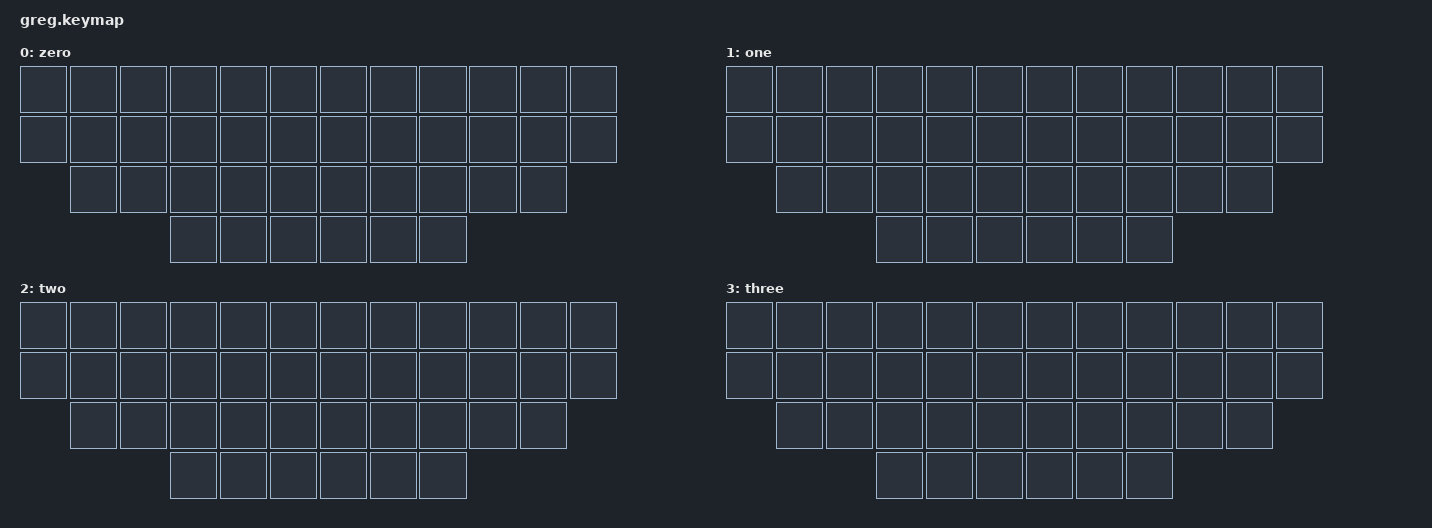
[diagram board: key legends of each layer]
#include <behaviors.dtsi>
#include <dt-bindings/zmk/keys.h>
#include <dt-bindings/zmk/bt.h>

/ {
    keymap {
        compatible = "zmk,keymap";

        zero {
            bindings = <
                &none      &none      &none      &none      &none      &none        &none      &none      &none      &none      &none      &none
                &none      &none      &none      &none      &none      &none        &none      &none      &none      &none      &none      &none
                           &none      &none      &none      &none      &none        &none      &none      &none      &none      &none
                                                 &none      &none      &none        &none      &none      &none
            >;
        };

        one {
            bindings = <
                &none      &none      &none      &none      &none      &none        &none      &none      &none      &none      &none      &none
                &none      &none      &none      &none      &none      &none        &none      &none      &none      &none      &none      &none
                           &none      &none      &none      &none      &none        &none      &none      &none      &none      &none
                                                 &none      &none      &none        &none      &none      &none
            >;
        };

        two {
            bindings = <
                &none      &none      &none      &none      &none      &none        &none      &none      &none      &none      &none      &none
                &none      &none      &none      &none      &none      &none        &none      &none      &none      &none      &none      &none
                           &none      &none      &none      &none      &none        &none      &none      &none      &none      &none
                                                 &none      &none      &none        &none      &none      &none
            >;
        };

        three {
            bindings = <
                &none      &none      &none      &none      &none      &none        &none      &none      &none      &none      &none      &none
                &none      &none      &none      &none      &none      &none        &none      &none      &none      &none      &none      &none
                           &none      &none      &none      &none      &none        &none      &none      &none      &none      &none
                                                 &none      &none      &none        &none      &none      &none
            >;
        };
    };
};
